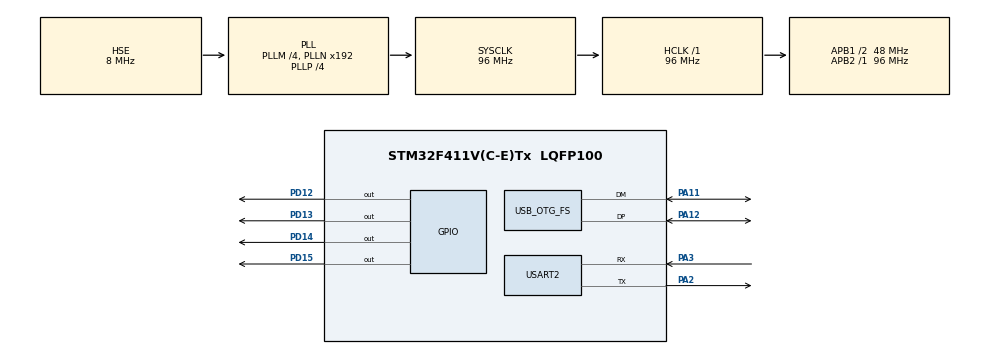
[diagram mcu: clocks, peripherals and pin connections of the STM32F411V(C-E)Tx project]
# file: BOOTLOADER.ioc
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Mcu.Family=STM32F4
Mcu.Name=STM32F411V(C-E)Tx
Mcu.Package=LQFP100
NVIC.OTG_FS_IRQn=true\:0\:0\:false\:false\:true\:false\:true\:true
NVIC.PriorityGroup=NVIC_PRIORITYGROUP_4
PA11.Mode=Device_Only
PA11.Signal=USB_OTG_FS_DM
PA12.Mode=Device_Only
PA12.Signal=USB_OTG_FS_DP
PA13.Mode=Serial_Wire
PA13.Signal=SYS_JTMS-SWDIO
PA14.Mode=Serial_Wire
PA14.Signal=SYS_JTCK-SWCLK
PA2.Mode=Asynchronous
PA2.Signal=USART2_TX
PA3.Mode=Asynchronous
PA3.Signal=USART2_RX
PD12.Signal=GPIO_Output
PD13.Signal=GPIO_Output
PD14.Signal=GPIO_Output
PD15.Signal=GPIO_Output
PH0\ -\ OSC_IN.Mode=HSE-External-Oscillator
PH0\ -\ OSC_IN.Signal=RCC_OSC_IN
PH1\ -\ OSC_OUT.Mode=HSE-External-Oscillator
PH1\ -\ OSC_OUT.Signal=RCC_OSC_OUT
ProjectManager.HeapSize=0x200
ProjectManager.StackSize=0x400
ProjectManager.TargetToolchain=STM32CubeIDE
RCC.48MHZClocksFreq_Value=48000000
RCC.AHBFreq_Value=96000000
RCC.APB1CLKDivider=RCC_HCLK_DIV2
RCC.APB1Freq_Value=48000000
RCC.APB1TimFreq_Value=96000000
RCC.APB2Freq_Value=96000000
RCC.APB2TimFreq_Value=96000000
RCC.CortexFreq_Value=96000000
RCC.HCLKFreq_Value=96000000
RCC.HSE_VALUE=8000000
RCC.HSI_VALUE=16000000
RCC.LSE_VALUE=32768
RCC.PLLM=4
RCC.PLLP=RCC_PLLP_DIV4
RCC.PLLQ=8
RCC.SYSCLKFreq_VALUE=96000000
RCC.SYSCLKSource=RCC_SYSCLKSOURCE_PLLCLK
RCC.VCOOutputFreq_Value=384000000
USART2.VirtualMode=VM_ASYNC
USB_DEVICE.CLASS_NAME_FS=CDC
USB_DEVICE.VirtualMode=Cdc
USB_DEVICE.VirtualModeFS=Cdc_FS
USB_OTG_FS.VirtualMode=Device_Only
VP_USB_DEVICE_VS_USB_DEVICE_CDC_FS.Mode=CDC_FS
board=custom

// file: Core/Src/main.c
/* USER CODE BEGIN Header */
/**
  ******************************************************************************
  * @file           : main.c
  * @brief          : Main program body
  ******************************************************************************
  * @attention
  *
  * Copyright (c) 2025 STMicroelectronics.
  * All rights reserved.
  *
  * This software is licensed under terms that can be found in the LICENSE file
  * in the root directory of this software component.
  * If no LICENSE file comes with this software, it is provided AS-IS.
  *
  ******************************************************************************
  */
/* USER CODE END Header */
#include "main.h"
#include "usb_device.h"

/* USER CODE BEGIN Includes */
#include "usbd_cdc_if.h"
#include "usbd_core.h"
/* USER CODE END Includes */

/* USER CODE BEGIN PD */
//#define SENDDATA(buf, len)  CDC_Transmit_FS((uint8_t*)(buf), (len))
/* USER CODE END PD */

UART_HandleTypeDef huart2;
extern USBD_HandleTypeDef hUsbDeviceFS;

void SystemClock_Config(void);
static void MX_GPIO_Init(void);
static void MX_USART2_UART_Init(void);
/* USER CODE BEGIN PFP */
static void goToApplication(void);
/* USER CODE END PFP */

int main(void)
{

  /* MCU Configuration--------------------------------------------------------*/

  /* Reset of all peripherals, Initializes the Flash interface and the Systick. */
  HAL_Init();

  /* Configure the system clock */
  SystemClock_Config();

  /* Initialize all configured peripherals */
  MX_GPIO_Init();
  MX_USB_DEVICE_Init();
  MX_USART2_UART_Init();
  /* USER CODE BEGIN 2 */
	uint8_t msg_boot[] = "Start Bootloading...\n";
	HAL_UART_Transmit(&huart2, msg_boot, sizeof(msg_boot)-1, HAL_MAX_DELAY);
	HAL_GPIO_WritePin(GPIOD, GPIO_PIN_13, GPIO_PIN_SET);
	HAL_Delay(3000);
	goToApplication();
  /* USER CODE END 2 */

  /* Infinite loop */
  while (1)
  {

  }
}

void SystemClock_Config(void)
{
  RCC_OscInitTypeDef RCC_OscInitStruct = {0};
  RCC_ClkInitTypeDef RCC_ClkInitStruct = {0};

  /** Configure the main internal regulator output voltage
  */
  __HAL_RCC_PWR_CLK_ENABLE();
  __HAL_PWR_VOLTAGESCALING_CONFIG(PWR_REGULATOR_VOLTAGE_SCALE1);

  /** Initializes the RCC Oscillators according to the specified parameters
  * in the RCC_OscInitTypeDef structure.
  */
  RCC_OscInitStruct.OscillatorType = RCC_OSCILLATORTYPE_HSE;
  RCC_OscInitStruct.HSEState = RCC_HSE_ON;
  RCC_OscInitStruct.PLL.PLLState = RCC_PLL_ON;
  RCC_OscInitStruct.PLL.PLLSource = RCC_PLLSOURCE_HSE;
  RCC_OscInitStruct.PLL.PLLM = 4;
  RCC_OscInitStruct.PLL.PLLN = 192;
  RCC_OscInitStruct.PLL.PLLP = RCC_PLLP_DIV4;
  RCC_OscInitStruct.PLL.PLLQ = 8;
  if (HAL_RCC_OscConfig(&RCC_OscInitStruct) != HAL_OK)
  {
    Error_Handler();
  }

  /** Initializes the CPU, AHB and APB buses clocks
  */
  RCC_ClkInitStruct.ClockType = RCC_CLOCKTYPE_HCLK|RCC_CLOCKTYPE_SYSCLK
                              |RCC_CLOCKTYPE_PCLK1|RCC_CLOCKTYPE_PCLK2;
  RCC_ClkInitStruct.SYSCLKSource = RCC_SYSCLKSOURCE_PLLCLK;
  RCC_ClkInitStruct.AHBCLKDivider = RCC_SYSCLK_DIV1;
  RCC_ClkInitStruct.APB1CLKDivider = RCC_HCLK_DIV2;
  RCC_ClkInitStruct.APB2CLKDivider = RCC_HCLK_DIV1;

  if (HAL_RCC_ClockConfig(&RCC_ClkInitStruct, FLASH_LATENCY_3) != HAL_OK)
  {
    Error_Handler();
  }
}

static void MX_USART2_UART_Init(void)
{

  huart2.Instance = USART2;
  huart2.Init.BaudRate = 115200;
  huart2.Init.WordLength = UART_WORDLENGTH_8B;
  huart2.Init.StopBits = UART_STOPBITS_1;
  huart2.Init.Parity = UART_PARITY_NONE;
  huart2.Init.Mode = UART_MODE_TX_RX;
  huart2.Init.HwFlowCtl = UART_HWCONTROL_NONE;
  huart2.Init.OverSampling = UART_OVERSAMPLING_16;
  if (HAL_UART_Init(&huart2) != HAL_OK)
  {
    Error_Handler();
  }

}

static void MX_GPIO_Init(void)
{
  GPIO_InitTypeDef GPIO_InitStruct = {0};

  /* GPIO Ports Clock Enable */
  __HAL_RCC_GPIOH_CLK_ENABLE();
  __HAL_RCC_GPIOA_CLK_ENABLE();
  __HAL_RCC_GPIOD_CLK_ENABLE();

  /*Configure GPIO pin Output Level */
  HAL_GPIO_WritePin(GPIOD, GPIO_PIN_12|GPIO_PIN_13|GPIO_PIN_14|GPIO_PIN_15, GPIO_PIN_RESET);

  /*Configure GPIO pins : PD12 PD13 PD14 PD15 */
  GPIO_InitStruct.Pin = GPIO_PIN_12|GPIO_PIN_13|GPIO_PIN_14|GPIO_PIN_15;
  GPIO_InitStruct.Mode = GPIO_MODE_OUTPUT_PP;
  GPIO_InitStruct.Pull = GPIO_NOPULL;
  GPIO_InitStruct.Speed = GPIO_SPEED_FREQ_LOW;
  HAL_GPIO_Init(GPIOD, &GPIO_InitStruct);

}

/* USER CODE BEGIN 4 */
void goToApplication(void)
{
	uint8_t msg_JMPAPP[] = "Jump to application\n";
	HAL_UART_Transmit(&huart2, msg_JMPAPP, sizeof(msg_JMPAPP)-1, HAL_MAX_DELAY);
	USBD_DeInit(&hUsbDeviceFS);
	HAL_UART_DeInit(&huart2);
	HAL_GPIO_WritePin(GPIOD, GPIO_PIN_13, GPIO_PIN_RESET);
	void(*appliactionResetHanlder)(void) = (void*)*(volatile uint32_t*) (0x08040000 + 4);

	  HAL_RCC_DeInit();
	  HAL_DeInit();
	  __set_MSP(*(volatile uint32_t*) 0x08040000);
	  SysTick->CTRL = 0;
	  SysTick->LOAD = 0;
	  SysTick->VAL = 0;

	appliactionResetHanlder();
}
/* USER CODE END 4 */

void Error_Handler(void)
{
  __disable_irq();
  while (1)
  {
  }
}
